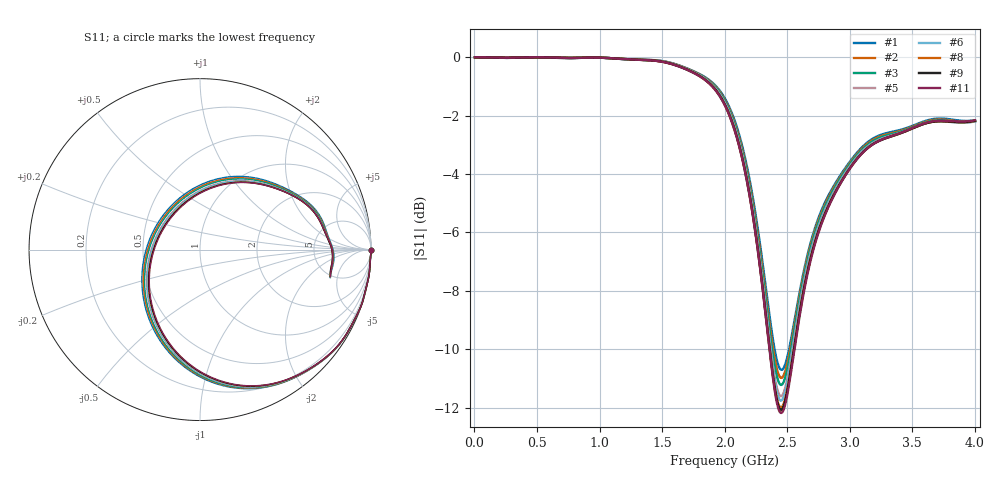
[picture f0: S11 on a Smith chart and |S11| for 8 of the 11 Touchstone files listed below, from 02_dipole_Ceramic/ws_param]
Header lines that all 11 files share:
! TOUCHSTONE file generated by CST MICROWAVE STUDIO
! Project name: AppElm_antenne_dipole_Alumina.cst
! Header version: 2018
! Port assignment regex: !\s*Touchstone port\s*([0-9]+)\s*=\s*(CST MWS port|CST DS port)\s*([0-9]+|Zmin|Zmax)\s*\(\"(.*)\"\)(\s*mode\s*([0-9]+))?.*
! Touchstone port assignment:
! Touchstone port 1 = CST MWS port 1 ("")
# GHz S MA R 50
Fixed: L = 33, e = 0.035, f = 2.45e+09, h = 1.6, i = 0.8, l1 = 2, lambda = 122.449, ls = 30, wl = 1.7
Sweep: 4 MHz to 4 GHz
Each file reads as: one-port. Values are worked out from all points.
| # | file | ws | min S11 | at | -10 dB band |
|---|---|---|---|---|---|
| 1 | AppElm_antenne_dipole_Alumina_1.s1p | 60 | -10.7 dB | 2.456 GHz | 116.5 MHz wide |
| 2 | AppElm_antenne_dipole_Alumina_2.s1p | 64 | -11.0 dB | 2.452 GHz | 136.5 MHz wide |
| 3 | AppElm_antenne_dipole_Alumina_3.s1p | 68 | -11.2 dB | 2.452 GHz | 151.5 MHz wide |
| 4 | AppElm_antenne_dipole_Alumina_4.s1p | 72 | -11.4 dB | 2.448 GHz | 163.4 MHz wide |
| 5 | AppElm_antenne_dipole_Alumina_5.s1p | 76 | -11.6 dB | 2.448 GHz | 172.7 MHz wide |
| 6 | AppElm_antenne_dipole_Alumina_6.s1p | 80 | -11.8 dB | 2.448 GHz | 180.2 MHz wide |
| 7 | AppElm_antenne_dipole_Alumina_7.s1p | 84 | -11.9 dB | 2.448 GHz | 186.2 MHz wide |
| 8 | AppElm_antenne_dipole_Alumina_8.s1p | 88 | -12.0 dB | 2.448 GHz | 191 MHz wide |
| 9 | AppElm_antenne_dipole_Alumina_9.s1p | 92 | -12.1 dB | 2.452 GHz | 194.8 MHz wide |
| 10 | AppElm_antenne_dipole_Alumina_10.s1p | 96 | -12.1 dB | 2.452 GHz | 197.7 MHz wide |
| 11 | AppElm_antenne_dipole_Alumina_11.s1p | 100 | -12.2 dB | 2.452 GHz | 199.8 MHz wide |
